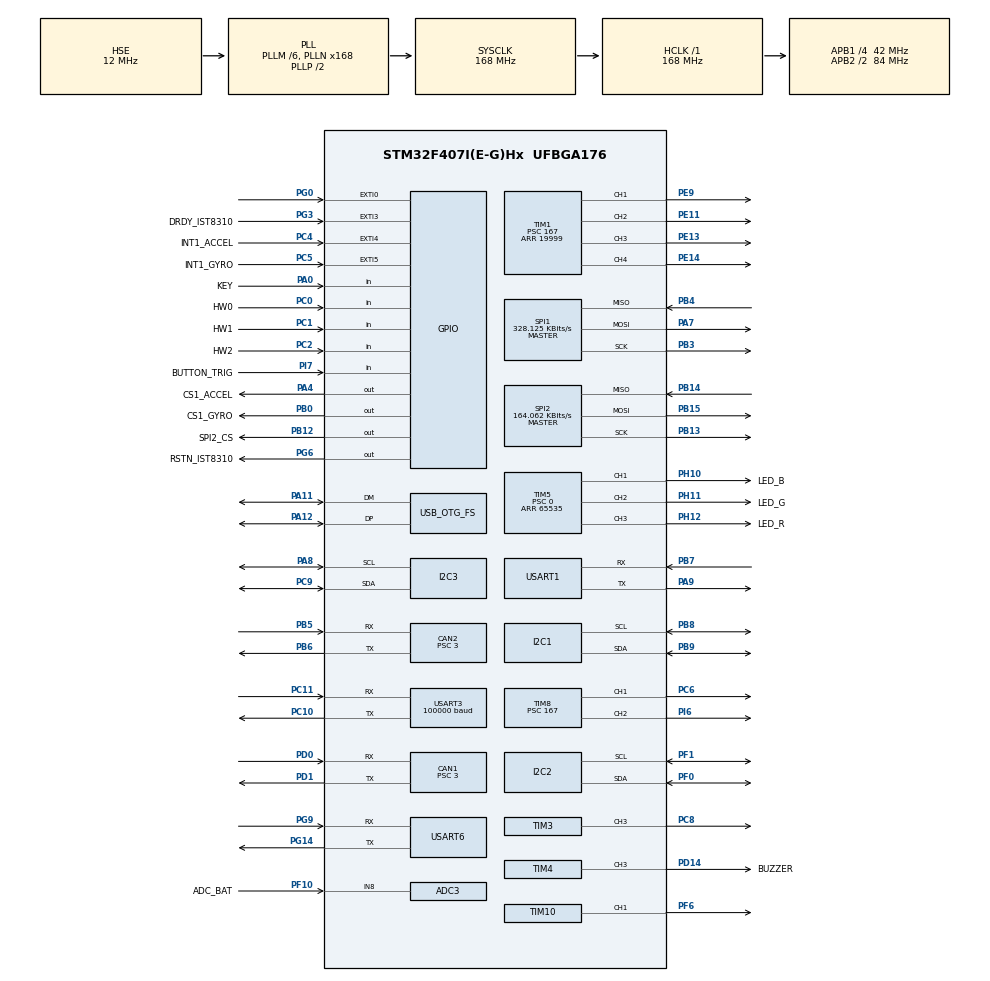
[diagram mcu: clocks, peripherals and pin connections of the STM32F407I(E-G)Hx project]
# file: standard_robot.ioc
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ADC1.Channel-0\#ChannelRegularConversion=ADC_CHANNEL_TEMPSENSOR
ADC1.ClockPrescaler=ADC_CLOCK_SYNC_PCLK_DIV6
ADC1.NbrOfConversionFlag=1
ADC1.Rank-0\#ChannelRegularConversion=1
ADC1.SamplingTime-0\#ChannelRegularConversion=ADC_SAMPLETIME_3CYCLES
ADC1.master=1
ADC3.Channel-0\#ChannelRegularConversion=ADC_CHANNEL_8
ADC3.ClockPrescaler=ADC_CLOCK_SYNC_PCLK_DIV6
ADC3.NbrOfConversionFlag=1
ADC3.Rank-0\#ChannelRegularConversion=1
ADC3.SamplingTime-0\#ChannelRegularConversion=ADC_SAMPLETIME_3CYCLES
CAN1.ABOM=ENABLE
CAN1.BS1=CAN_BS1_10TQ
CAN1.BS2=CAN_BS2_3TQ
CAN1.CalculateBaudRate=1000000
CAN1.CalculateTimeBit=999.99
CAN1.CalculateTimeQuantum=71.42857142857143
CAN1.Prescaler=3
CAN2.BS1=CAN_BS1_10TQ
CAN2.BS2=CAN_BS2_3TQ
CAN2.CalculateBaudRate=1000000
CAN2.CalculateTimeBit=999.99
CAN2.CalculateTimeQuantum=71.42857142857143
CAN2.Prescaler=3
Dma.I2C2_TX.2.Direction=DMA_MEMORY_TO_PERIPH
Dma.I2C2_TX.2.FIFOMode=DMA_FIFOMODE_DISABLE
Dma.I2C2_TX.2.Instance=DMA1_Stream7
Dma.I2C2_TX.2.MemDataAlignment=DMA_MDATAALIGN_BYTE
Dma.I2C2_TX.2.MemInc=DMA_MINC_ENABLE
Dma.I2C2_TX.2.Mode=DMA_NORMAL
Dma.I2C2_TX.2.PeriphDataAlignment=DMA_PDATAALIGN_BYTE
Dma.I2C2_TX.2.PeriphInc=DMA_PINC_DISABLE
Dma.I2C2_TX.2.Priority=DMA_PRIORITY_HIGH
Dma.Request0=SPI1_RX
Dma.Request1=SPI1_TX
Dma.Request2=I2C2_TX
Dma.Request3=USART3_RX
Dma.Request4=USART6_RX
Dma.Request5=USART6_TX
Dma.Request6=USART1_TX
Dma.SPI1_RX.0.Direction=DMA_PERIPH_TO_MEMORY
Dma.SPI1_RX.0.FIFOMode=DMA_FIFOMODE_DISABLE
Dma.SPI1_RX.0.Instance=DMA2_Stream2
Dma.SPI1_RX.0.MemDataAlignment=DMA_MDATAALIGN_BYTE
Dma.SPI1_RX.0.MemInc=DMA_MINC_ENABLE
Dma.SPI1_RX.0.Mode=DMA_NORMAL
Dma.SPI1_RX.0.PeriphDataAlignment=DMA_PDATAALIGN_BYTE
Dma.SPI1_RX.0.PeriphInc=DMA_PINC_DISABLE
Dma.SPI1_RX.0.Priority=DMA_PRIORITY_VERY_HIGH
Dma.SPI1_TX.1.Direction=DMA_MEMORY_TO_PERIPH
Dma.SPI1_TX.1.FIFOMode=DMA_FIFOMODE_DISABLE
Dma.SPI1_TX.1.Instance=DMA2_Stream3
Dma.SPI1_TX.1.MemDataAlignment=DMA_MDATAALIGN_BYTE
Dma.SPI1_TX.1.MemInc=DMA_MINC_ENABLE
Dma.SPI1_TX.1.Mode=DMA_NORMAL
Dma.SPI1_TX.1.PeriphDataAlignment=DMA_PDATAALIGN_BYTE
Dma.SPI1_TX.1.PeriphInc=DMA_PINC_DISABLE
Dma.SPI1_TX.1.Priority=DMA_PRIORITY_HIGH
Dma.USART1_TX.6.Direction=DMA_MEMORY_TO_PERIPH
Dma.USART1_TX.6.FIFOMode=DMA_FIFOMODE_DISABLE
Dma.USART1_TX.6.Instance=DMA2_Stream7
Dma.USART1_TX.6.MemDataAlignment=DMA_MDATAALIGN_BYTE
Dma.USART1_TX.6.MemInc=DMA_MINC_ENABLE
Dma.USART1_TX.6.Mode=DMA_NORMAL
Dma.USART1_TX.6.PeriphDataAlignment=DMA_PDATAALIGN_BYTE
Dma.USART1_TX.6.PeriphInc=DMA_PINC_DISABLE
Dma.USART1_TX.6.Priority=DMA_PRIORITY_MEDIUM
Dma.USART3_RX.3.Direction=DMA_PERIPH_TO_MEMORY
Dma.USART3_RX.3.FIFOMode=DMA_FIFOMODE_DISABLE
Dma.USART3_RX.3.Instance=DMA1_Stream1
Dma.USART3_RX.3.MemDataAlignment=DMA_MDATAALIGN_BYTE
Dma.USART3_RX.3.MemInc=DMA_MINC_ENABLE
Dma.USART3_RX.3.Mode=DMA_NORMAL
Dma.USART3_RX.3.PeriphDataAlignment=DMA_PDATAALIGN_BYTE
Dma.USART3_RX.3.PeriphInc=DMA_PINC_DISABLE
Dma.USART3_RX.3.Priority=DMA_PRIORITY_HIGH
Dma.USART6_RX.4.Direction=DMA_PERIPH_TO_MEMORY
Dma.USART6_RX.4.FIFOMode=DMA_FIFOMODE_DISABLE
Dma.USART6_RX.4.Instance=DMA2_Stream1
Dma.USART6_RX.4.MemDataAlignment=DMA_MDATAALIGN_BYTE
Dma.USART6_RX.4.MemInc=DMA_MINC_ENABLE
Dma.USART6_RX.4.Mode=DMA_NORMAL
Dma.USART6_RX.4.PeriphDataAlignment=DMA_PDATAALIGN_BYTE
Dma.USART6_RX.4.PeriphInc=DMA_PINC_DISABLE
Dma.USART6_RX.4.Priority=DMA_PRIORITY_HIGH
Dma.USART6_TX.5.Direction=DMA_MEMORY_TO_PERIPH
Dma.USART6_TX.5.FIFOMode=DMA_FIFOMODE_DISABLE
Dma.USART6_TX.5.Instance=DMA2_Stream6
Dma.USART6_TX.5.MemDataAlignment=DMA_MDATAALIGN_BYTE
Dma.USART6_TX.5.MemInc=DMA_MINC_ENABLE
Dma.USART6_TX.5.Mode=DMA_NORMAL
Dma.USART6_TX.5.PeriphDataAlignment=DMA_PDATAALIGN_BYTE
Dma.USART6_TX.5.PeriphInc=DMA_PINC_DISABLE
Dma.USART6_TX.5.Priority=DMA_PRIORITY_MEDIUM
FREERTOS.INCLUDE_eTaskGetState=1
FREERTOS.INCLUDE_pcTaskGetTaskName=1
FREERTOS.INCLUDE_uxTaskGetStackHighWaterMark=1
FREERTOS.INCLUDE_vTaskCleanUpResources=1
FREERTOS.INCLUDE_vTaskDelayUntil=1
FREERTOS.INCLUDE_xEventGroupSetBitFromISR=1
FREERTOS.INCLUDE_xQueueGetMutexHolder=1
FREERTOS.INCLUDE_xSemaphoreGetMutexHolder=1
FREERTOS.INCLUDE_xTaskAbortDelay=1
FREERTOS.INCLUDE_xTaskGetCurrentTaskHandle=1
FREERTOS.INCLUDE_xTaskGetHandle=1
FREERTOS.INCLUDE_xTimerPendFunctionCall=1
FREERTOS.Tasks01=test,24,128,test_task,As weak,NULL,Dynamic,NULL,NULL
FREERTOS.Timers01=Ts_myTimer01,Ts_Callback01,osTimerPeriodic,Default,NULL,Dynamic,NULL
FREERTOS.configTOTAL_HEAP_SIZE=24576
I2C1.I2C_Mode=I2C_Fast
I2C2.I2C_Mode=I2C_Fast
I2C3.I2C_Mode=I2C_Fast
Mcu.Family=STM32F4
Mcu.Name=STM32F407I(E-G)Hx
Mcu.Package=UFBGA176
NVIC.CAN1_RX0_IRQn=true\:6\:0\:true\:false\:true\:false\:true\:true
NVIC.CAN1_TX_IRQn=true\:5\:0\:false\:false\:true\:false\:true\:true
NVIC.CAN2_RX0_IRQn=true\:6\:0\:true\:false\:true\:false\:true\:true
NVIC.DMA1_Stream1_IRQn=true\:5\:0\:true\:false\:false\:false\:false\:false
NVIC.DMA1_Stream7_IRQn=true\:5\:0\:true\:false\:false\:false\:false\:true
NVIC.DMA2_Stream1_IRQn=true\:5\:0\:true\:false\:true\:false\:false\:true
NVIC.DMA2_Stream2_IRQn=true\:5\:0\:true\:false\:false\:false\:false\:true
NVIC.DMA2_Stream3_IRQn=true\:5\:0\:true\:false\:false\:false\:false\:true
NVIC.DMA2_Stream6_IRQn=true\:5\:0\:true\:false\:true\:false\:false\:true
NVIC.DMA2_Stream7_IRQn=true\:5\:0\:true\:false\:true\:false\:false\:true
NVIC.EXTI0_IRQn=true\:6\:0\:true\:false\:true\:false\:true\:true
NVIC.EXTI3_IRQn=true\:5\:0\:true\:false\:true\:false\:true\:true
NVIC.EXTI4_IRQn=true\:5\:0\:true\:false\:true\:false\:true\:true
NVIC.EXTI9_5_IRQn=true\:5\:0\:true\:false\:true\:false\:true\:true
NVIC.OTG_FS_IRQn=true\:5\:0\:false\:false\:true\:true\:false\:true
NVIC.PriorityGroup=NVIC_PRIORITYGROUP_4
NVIC.USART3_IRQn=true\:4\:0\:true\:false\:false\:false\:true\:true
NVIC.USART6_IRQn=true\:5\:0\:true\:false\:false\:false\:true\:true
PA0-WKUP.GPIO_Label=KEY
PA0-WKUP.GPIO_PuPd=GPIO_PULLUP
PA0-WKUP.Signal=GPIO_Input
PA11.Mode=Device_Only
PA11.Signal=USB_OTG_FS_DM
PA12.Mode=Device_Only
PA12.Signal=USB_OTG_FS_DP
PA13.Mode=Serial_Wire
PA13.Signal=SYS_JTMS-SWDIO
PA14.Mode=Serial_Wire
PA14.Signal=SYS_JTCK-SWCLK
PA4.GPIO_Label=CS1_ACCEL
PA4.GPIO_PuPd=GPIO_PULLUP
PA4.GPIO_Speed=GPIO_SPEED_FREQ_HIGH
PA4.PinState=GPIO_PIN_SET
PA4.Signal=GPIO_Output
PA7.GPIO_PuPd=GPIO_PULLUP
PA7.Mode=Full_Duplex_Master
PA7.Signal=SPI1_MOSI
PA8.GPIO_Pu=GPIO_PULLUP
PA8.Mode=I2C
PA8.Signal=I2C3_SCL
PA9.Mode=Asynchronous
PA9.Signal=USART1_TX
PB0.GPIO_Label=CS1_GYRO
PB0.GPIO_PuPd=GPIO_PULLUP
PB0.GPIO_Speed=GPIO_SPEED_FREQ_HIGH
PB0.PinState=GPIO_PIN_SET
PB0.Signal=GPIO_Output
PB12.GPIO_Label=SPI2_CS
PB12.GPIO_PuPd=GPIO_PULLUP
PB12.GPIO_Speed=GPIO_SPEED_FREQ_MEDIUM
PB12.PinState=GPIO_PIN_SET
PB12.Signal=GPIO_Output
PB13.GPIO_PuPd=GPIO_PULLUP
PB13.Mode=Full_Duplex_Master
PB13.Signal=SPI2_SCK
PB14.GPIO_PuPd=GPIO_PULLUP
PB14.Mode=Full_Duplex_Master
PB14.Signal=SPI2_MISO
PB15.GPIO_PuPd=GPIO_PULLUP
PB15.Mode=Full_Duplex_Master
PB15.Signal=SPI2_MOSI
PB3.GPIO_PuPd=GPIO_PULLUP
PB3.Mode=Full_Duplex_Master
PB3.Signal=SPI1_SCK
PB4.GPIO_PuPd=GPIO_PULLUP
PB4.Mode=Full_Duplex_Master
PB4.Signal=SPI1_MISO
PB5.Mode=CAN_Activate
PB5.Signal=CAN2_RX
PB6.Mode=CAN_Activate
PB6.Signal=CAN2_TX
PB7.Mode=Asynchronous
PB7.Signal=USART1_RX
PB8.GPIO_Pu=GPIO_PULLUP
PB8.Mode=I2C
PB8.Signal=I2C1_SCL
PB9.GPIO_Pu=GPIO_PULLUP
PB9.Mode=I2C
PB9.Signal=I2C1_SDA
PC0.GPIO_Label=HW0
PC0.Signal=GPIO_Input
PC1.GPIO_Label=HW1
PC1.Signal=GPIO_Input
PC10.Mode=Asynchronous
PC10.Signal=USART3_TX
PC11.Mode=Asynchronous
PC11.Signal=USART3_RX
PC2.GPIO_Label=HW2
PC2.Signal=GPIO_Input
PC4.GPIO_Label=INT1_ACCEL
PC4.GPIO_ModeDefaultEXTI=GPIO_MODE_IT_FALLING
PC4.GPIO_PuPd=GPIO_PULLUP
PC4.Signal=GPXTI4
PC5.GPIO_Label=INT1_GYRO
PC5.GPIO_ModeDefaultEXTI=GPIO_MODE_IT_FALLING
PC5.GPIO_PuPd=GPIO_PULLUP
PC5.Signal=GPXTI5
PC6.GPIO_PuPd=GPIO_PULLUP
PC6.GPIO_Speed=GPIO_SPEED_FREQ_HIGH
PC6.Signal=S_TIM8_CH1
PC8.GPIO_PuPd=GPIO_PULLUP
PC8.GPIO_Speed=GPIO_SPEED_FREQ_HIGH
PC8.Signal=S_TIM3_CH3
PC9.GPIO_Pu=GPIO_PULLUP
PC9.Mode=I2C
PC9.Signal=I2C3_SDA
PD0.Mode=CAN_Activate
PD0.Signal=CAN1_RX
PD1.Mode=CAN_Activate
PD1.Signal=CAN1_TX
PD14.GPIO_Label=BUZZER
PD14.GPIO_PuPd=GPIO_PULLUP
PD14.GPIO_Speed=GPIO_SPEED_FREQ_VERY_HIGH
PD14.Signal=S_TIM4_CH3
PE11.GPIO_PuPd=GPIO_PULLUP
PE11.GPIO_Speed=GPIO_SPEED_FREQ_HIGH
PE11.Signal=S_TIM1_CH2
PE13.GPIO_PuPd=GPIO_PULLUP
PE13.GPIO_Speed=GPIO_SPEED_FREQ_HIGH
PE13.Signal=S_TIM1_CH3
PE14.GPIO_PuPd=GPIO_PULLUP
PE14.GPIO_Speed=GPIO_SPEED_FREQ_HIGH
PE14.Signal=S_TIM1_CH4
PE9.GPIO_PuPd=GPIO_PULLUP
PE9.GPIO_Speed=GPIO_SPEED_FREQ_HIGH
PE9.Signal=S_TIM1_CH1
PF0.GPIO_Pu=GPIO_PULLUP
PF0.Mode=I2C
PF0.Signal=I2C2_SDA
PF1.GPIO_Pu=GPIO_PULLUP
PF1.Mode=I2C
PF1.Signal=I2C2_SCL
PF10.GPIO_Label=ADC_BAT
PF10.Mode=IN8
PF10.Signal=ADC3_IN8
PF6.GPIO_PuPd=GPIO_PULLUP
PF6.GPIO_Speed=GPIO_SPEED_FREQ_HIGH
PF6.Signal=S_TIM10_CH1
PG0.GPIO_ModeDefaultEXTI=GPIO_MODE_IT_FALLING
PG0.GPIO_PuPd=GPIO_PULLUP
PG0.Signal=GPXTI0
PG14.Mode=Asynchronous
PG14.Signal=USART6_TX
PG3.GPIO_Label=DRDY_IST8310
PG3.GPIO_ModeDefaultEXTI=GPIO_MODE_IT_FALLING
PG3.GPIO_PuPd=GPIO_PULLUP
PG3.Signal=GPXTI3
PG6.GPIO_Label=RSTN_IST8310
PG6.GPIO_PuPd=GPIO_PULLUP
PG6.GPIO_Speed=GPIO_SPEED_FREQ_MEDIUM
PG6.PinState=GPIO_PIN_SET
PG6.Signal=GPIO_Output
PG9.Mode=Asynchronous
PG9.Signal=USART6_RX
PH0-OSC_IN.Mode=HSE-External-Oscillator
PH0-OSC_IN.Signal=RCC_OSC_IN
PH1-OSC_OUT.Mode=HSE-External-Oscillator
PH1-OSC_OUT.Signal=RCC_OSC_OUT
PH10.GPIO_Label=LED_B
PH10.GPIO_PuPd=GPIO_PULLUP
PH10.GPIO_Speed=GPIO_SPEED_FREQ_HIGH
PH10.Signal=S_TIM5_CH1
PH11.GPIO_Label=LED_G
PH11.GPIO_PuPd=GPIO_PULLUP
PH11.GPIO_Speed=GPIO_SPEED_FREQ_HIGH
PH11.Signal=S_TIM5_CH2
PH12.GPIO_Label=LED_R
PH12.GPIO_PuPd=GPIO_PULLUP
PH12.GPIO_Speed=GPIO_SPEED_FREQ_HIGH
PH12.Signal=S_TIM5_CH3
PI6.GPIO_PuPd=GPIO_PULLUP
PI6.GPIO_Speed=GPIO_SPEED_FREQ_HIGH
PI6.Signal=S_TIM8_CH2
PI7.GPIO_Label=BUTTON_TRIG
PI7.GPIO_PuPd=GPIO_PULLUP
PI7.Signal=GPIO_Input
ProjectManager.HeapSize=0x2000
ProjectManager.StackSize=0x2000
ProjectManager.TargetToolchain=MDK-ARM V5
RCC.48MHZClocksFreq_Value=48000000
RCC.AHBFreq_Value=168000000
RCC.APB1CLKDivider=RCC_HCLK_DIV4
RCC.APB1Freq_Value=42000000
RCC.APB1TimFreq_Value=84000000
RCC.APB2CLKDivider=RCC_HCLK_DIV2
RCC.APB2Freq_Value=84000000
RCC.APB2TimFreq_Value=168000000
RCC.CortexFreq_Value=168000000
RCC.HCLKFreq_Value=168000000
RCC.HSE_VALUE=12000000
RCC.HSI_VALUE=16000000
RCC.LSE_VALUE=32768
RCC.PLLM=6
RCC.PLLN=168
RCC.PLLQ=7
RCC.RCC_RTC_Clock_SourceVirtual=RCC_RTCCLKSOURCE_HSE_DIV30
RCC.RCC_RTC_Clock_Source_FROM_HSE=RCC_RTCCLKSOURCE_HSE_DIV30
RCC.SYSCLKFreq_VALUE=168000000
RCC.SYSCLKSource=RCC_SYSCLKSOURCE_PLLCLK
RCC.VCOOutputFreq_Value=336000000
RTC.AsynchPrediv=124
RTC.SynchPrediv=3199
SH.S_TIM10_CH1.0=TIM10_CH1,PWM Generation1 CH1
SH.S_TIM1_CH1.0=TIM1_CH1,PWM Generation1 CH1
SH.S_TIM1_CH2.0=TIM1_CH2,PWM Generation2 CH2
SH.S_TIM1_CH3.0=TIM1_CH3,PWM Generation3 CH3
SH.S_TIM1_CH4.0=TIM1_CH4,PWM Generation4 CH4
SH.S_TIM3_CH3.0=TIM3_CH3,PWM Generation3 CH3
SH.S_TIM4_CH3.0=TIM4_CH3,PWM Generation3 CH3
SH.S_TIM5_CH1.0=TIM5_CH1,PWM Generation1 CH1
SH.S_TIM5_CH2.0=TIM5_CH2,PWM Generation2 CH2
SH.S_TIM5_CH3.0=TIM5_CH3,PWM Generation3 CH3
SH.S_TIM8_CH1.0=TIM8_CH1,PWM Generation1 CH1
SH.S_TIM8_CH2.0=TIM8_CH2,PWM Generation2 CH2
SPI1.BaudRatePrescaler=SPI_BAUDRATEPRESCALER_256
SPI1.CLKPhase=SPI_PHASE_2EDGE
SPI1.CLKPolarity=SPI_POLARITY_HIGH
SPI1.CalculateBaudRate=328.125 KBits/s
SPI1.Direction=SPI_DIRECTION_2LINES
SPI1.Mode=SPI_MODE_MASTER
SPI1.VirtualType=VM_MASTER
SPI2.BaudRatePrescaler=SPI_BAUDRATEPRESCALER_256
SPI2.CLKPhase=SPI_PHASE_2EDGE
SPI2.CLKPolarity=SPI_POLARITY_HIGH
SPI2.CalculateBaudRate=164.062 KBits/s
SPI2.Direction=SPI_DIRECTION_2LINES
SPI2.Mode=SPI_MODE_MASTER
SPI2.VirtualType=VM_MASTER
TIM1.Channel-PWM\ Generation1\ CH1=TIM_CHANNEL_1
TIM1.Channel-PWM\ Generation2\ CH2=TIM_CHANNEL_2
TIM1.Channel-PWM\ Generation3\ CH3=TIM_CHANNEL_3
TIM1.Channel-PWM\ Generation4\ CH4=TIM_CHANNEL_4
TIM1.Period=19999
TIM1.Prescaler=167
TIM1.Pulse-PWM\ Generation1\ CH1=1000
TIM1.Pulse-PWM\ Generation2\ CH2=1000
TIM1.Pulse-PWM\ Generation3\ CH3=1000
TIM1.Pulse-PWM\ Generation4\ CH4=1000
TIM10.Channel=TIM_CHANNEL_1
TIM10.Period=4999
TIM3.Channel-PWM\ Generation3\ CH3=TIM_CHANNEL_3
TIM3.Period=8399
TIM4.Channel-PWM\ Generation3\ CH3=TIM_CHANNEL_3
TIM4.Period=65535
TIM4.Prescaler=167
TIM5.Channel-PWM\ Generation1\ CH1=TIM_CHANNEL_1
TIM5.Channel-PWM\ Generation2\ CH2=TIM_CHANNEL_2
TIM5.Channel-PWM\ Generation3\ CH3=TIM_CHANNEL_3
TIM5.Period=65535
TIM5.Prescaler=0
TIM8.Channel-PWM\ Generation1\ CH1=TIM_CHANNEL_1
TIM8.Channel-PWM\ Generation2\ CH2=TIM_CHANNEL_2
TIM8.Period=19999
TIM8.Prescaler=167
TIM8.Pulse-PWM\ Generation1\ CH1=1000
TIM8.Pulse-PWM\ Generation2\ CH2=1000
USART1.VirtualMode=VM_ASYNC
USART3.BaudRate=100000
USART3.Parity=PARITY_EVEN
USART3.VirtualMode=VM_ASYNC
USART6.VirtualMode=VM_ASYNC
USB_DEVICE.CLASS_NAME_FS=CDC
USB_DEVICE.VirtualMode-CDC_FS=Cdc
USB_DEVICE.VirtualModeFS=Cdc_FS
USB_OTG_FS.VirtualMode=Device_Only
VP_ADC1_TempSens_Input.Mode=IN-TempSens
VP_ADC1_Vref_Input.Mode=IN-Vrefint
VP_CRC_VS_CRC.Mode=CRC_Activate
VP_FREERTOS_VS_CMSIS_V1.Mode=CMSIS_V1
VP_RNG_VS_RNG.Mode=RNG_Activate
VP_RTC_VS_RTC_Activate.Mode=RTC_Enabled
VP_TIM10_VS_ClockSourceINT.Mode=Enable_Timer
VP_TIM1_VS_ClockSourceINT.Mode=Internal
VP_TIM3_VS_ClockSourceINT.Mode=Internal
VP_TIM4_VS_ClockSourceINT.Mode=Internal
VP_TIM5_VS_ClockSourceINT.Mode=Internal
VP_TIM8_VS_ClockSourceINT.Mode=Internal
VP_USB_DEVICE_VS_USB_DEVICE_CDC_FS.Mode=CDC_FS
board=custom

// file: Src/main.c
/* USER CODE BEGIN Header */
/**
  ******************************************************************************
  * @file           : main.c
  * @brief          : Main program body
  ******************************************************************************
  * @attention
  *
  * <h2><center>&copy; Copyright (c) 2019 STMicroelectronics.
  * All rights reserved.</center></h2>
  *
  * This software component is licensed by ST under Ultimate Liberty license
  * SLA0044, the "License"; You may not use this file except in compliance with
  * the License. You may obtain a copy of the License at:
  *                             www.st.com/SLA0044
  *
  ******************************************************************************
  */
/* USER CODE END Header */
#include "main.h"
#include "cmsis_os.h"
#include "adc.h"
#include "can.h"
#include "crc.h"
#include "dma.h"
#include "i2c.h"
#include "rng.h"
#include "rtc.h"
#include "spi.h"
#include "tim.h"
#include "usart.h"
#include "usb_device.h"
#include "gpio.h"

/* USER CODE BEGIN Includes */
#include "bsp_can.h"
#include "bsp_delay.h"
#include "bsp_usart.h"
#include "remote_control.h"

#include "calibrate_task.h"
#include "chassis_task.h"
#include "detect_task.h"
#include "gimbal_task.h"
#include "INS_task.h"
#include "led_flow_task.h"
#include "oled_task.h"
#include "referee_usart_task.h"
#include "usb_task.h"
#include "voltage_task.h"
/* USER CODE END Includes */

void SystemClock_Config(void);
void MX_FREERTOS_Init(void);

int main(void)
{

  /* MCU Configuration--------------------------------------------------------*/

  /* Reset of all peripherals, Initializes the Flash interface and the Systick. */
  HAL_Init();

  /* Configure the system clock */
  SystemClock_Config();

  /* Initialize all configured peripherals */
  MX_GPIO_Init();
  MX_DMA_Init();
  MX_ADC1_Init();
  MX_ADC3_Init();
  MX_CAN1_Init();
  MX_CAN2_Init();
  MX_I2C1_Init();
  MX_SPI1_Init();
  MX_TIM4_Init();
  MX_TIM5_Init();
  MX_USART3_UART_Init();
  MX_TIM8_Init();
  MX_CRC_Init();
  MX_RNG_Init();
  MX_I2C2_Init();
  MX_I2C3_Init();
  MX_RTC_Init();
  MX_SPI2_Init();
  MX_TIM1_Init();
  MX_TIM3_Init();
  MX_TIM10_Init();
  MX_USART1_UART_Init();
  MX_USART6_UART_Init();
  /* USER CODE BEGIN 2 */
    can_filter_init();
    delay_init();
    cali_param_init();
    remote_control_init();
    usart1_tx_dma_init();
  /* USER CODE END 2 */
   __HAL_TIM_SetCompare(&htim1, TIM_CHANNEL_1, 0);
  /* Call init function for freertos objects (in freertos.c) */
  MX_FREERTOS_Init();
  /* Start scheduler */
  osKernelStart();

  /* We should never get here as control is now taken by the scheduler */
  /* Infinite loop */
  while (1)
  {

  }
}

void SystemClock_Config(void)
{
  RCC_OscInitTypeDef RCC_OscInitStruct = {0};
  RCC_ClkInitTypeDef RCC_ClkInitStruct = {0};

  /** Configure the main internal regulator output voltage
  */
  __HAL_RCC_PWR_CLK_ENABLE();
  __HAL_PWR_VOLTAGESCALING_CONFIG(PWR_REGULATOR_VOLTAGE_SCALE1);
  /** Initializes the RCC Oscillators according to the specified parameters
  * in the RCC_OscInitTypeDef structure.
  */
  RCC_OscInitStruct.OscillatorType = RCC_OSCILLATORTYPE_HSE;
  RCC_OscInitStruct.HSEState = RCC_HSE_ON;
  RCC_OscInitStruct.PLL.PLLState = RCC_PLL_ON;
  RCC_OscInitStruct.PLL.PLLSource = RCC_PLLSOURCE_HSE;
  RCC_OscInitStruct.PLL.PLLM = 6;
  RCC_OscInitStruct.PLL.PLLN = 168;
  RCC_OscInitStruct.PLL.PLLP = RCC_PLLP_DIV2;
  RCC_OscInitStruct.PLL.PLLQ = 7;
  if (HAL_RCC_OscConfig(&RCC_OscInitStruct) != HAL_OK)
  {
    Error_Handler();
  }
  /** Initializes the CPU, AHB and APB buses clocks
  */
  RCC_ClkInitStruct.ClockType = RCC_CLOCKTYPE_HCLK|RCC_CLOCKTYPE_SYSCLK
                              |RCC_CLOCKTYPE_PCLK1|RCC_CLOCKTYPE_PCLK2;
  RCC_ClkInitStruct.SYSCLKSource = RCC_SYSCLKSOURCE_PLLCLK;
  RCC_ClkInitStruct.AHBCLKDivider = RCC_SYSCLK_DIV1;
  RCC_ClkInitStruct.APB1CLKDivider = RCC_HCLK_DIV4;
  RCC_ClkInitStruct.APB2CLKDivider = RCC_HCLK_DIV2;

  if (HAL_RCC_ClockConfig(&RCC_ClkInitStruct, FLASH_LATENCY_5) != HAL_OK)
  {
    Error_Handler();
  }
}

void Error_Handler(void)
{
}

/************************ (C) COPYRIGHT STMicroelectronics *****END OF FILE****/

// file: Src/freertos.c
/* USER CODE BEGIN Header */
/**
  ******************************************************************************
  * File Name          : freertos.c
  * Description        : Code for freertos applications
  ******************************************************************************
  * @attention
  *
  * <h2><center>&copy; Copyright (c) 2019 STMicroelectronics.
  * All rights reserved.</center></h2>
  *
  * This software component is licensed by ST under Ultimate Liberty license
  * SLA0044, the "License"; You may not use this file except in compliance with
  * the License. You may obtain a copy of the License at:
  *                             www.st.com/SLA0044
  *
  ******************************************************************************
  */
/* USER CODE END Header */

#include "FreeRTOS.h"
#include "task.h"
#include "main.h"
#include "cmsis_os.h"

/* USER CODE BEGIN Includes */

#include "calibrate_task.h"
#include "chassis_task.h"
#include "detect_task.h"
#include "gimbal_task.h"
#include "INS_task.h"
#include "led_flow_task.h"
#include "oled_task.h"
#include "referee_usart_task.h"
#include "usb_task.h"
#include "voltage_task.h"
#include "servo_task.h"
#include "protocol_camp.h"
#include "up_3508pid_task.h"
#include "ServoControl_task.h"
#include "RosControl_task.h"
#include "RelayControl_task.h"
#include "pwmR_task.h"
/* USER CODE END Includes */

/* USER CODE BEGIN PTD */

osThreadId calibrate_tast_handle;
osThreadId chassisTaskHandle;
osThreadId detect_handle;
osThreadId gimbalTaskHandle;
osThreadId imuTaskHandle;
osThreadId led_RGB_flow_handle;
osThreadId pwmR_task_handle;
osThreadId oled_handle;
osThreadId referee_usart_task_handle;
osThreadId usb_task_handle;
osThreadId battery_voltage_handle;
osThreadId servo_task_handle;
osThreadId RelayContorl_task_handle;
osThreadId decode_task_handle;
osThreadId rc_task_handle;
osThreadId up3508pid_task_handle;
osThreadId RosControl_task_handle;
osThreadId ServoControl_task_handle;
osThreadId  Motor_taskHandle; //�������id

extern void decode_task(void const * argument);

extern void rc_task(void const * argument);

extern void Motor_task(void const * argument);

 QueueHandle_t CDC_send_queue; // �½�CDC��Ϣ����

extern void rm_queue_data(uint16_t cmd_id,void* buf,uint16_t len ); //

message_info_t message_info2;

uint16_t msg_count = 0;

/* USER CODE END PTD */

osThreadId testHandle;
osTimerId Ts_myTimer01Handle;

void test_task(void const * argument);
void Ts_Callback01(void const * argument);

extern void MX_USB_DEVICE_Init(void);
void MX_FREERTOS_Init(void); /* (MISRA C 2004 rule 8.1) */

/* GetIdleTaskMemory prototype (linked to static allocation support) */
void vApplicationGetIdleTaskMemory( StaticTask_t **ppxIdleTaskTCBBuffer, StackType_t **ppxIdleTaskStackBuffer, uint32_t *pulIdleTaskStackSize );

/* GetTimerTaskMemory prototype (linked to static allocation support) */
void vApplicationGetTimerTaskMemory( StaticTask_t **ppxTimerTaskTCBBuffer, StackType_t **ppxTimerTaskStackBuffer, uint32_t *pulTimerTaskStackSize );

/* USER CODE BEGIN GET_IDLE_TASK_MEMORY */
static StaticTask_t xIdleTaskTCBBuffer;
static StackType_t xIdleStack[configMINIMAL_STACK_SIZE];

void vApplicationGetIdleTaskMemory( StaticTask_t **ppxIdleTaskTCBBuffer, StackType_t **ppxIdleTaskStackBuffer, uint32_t *pulIdleTaskStackSize )
{
  *ppxIdleTaskTCBBuffer = &xIdleTaskTCBBuffer;
  *ppxIdleTaskStackBuffer = &xIdleStack[0];
  *pulIdleTaskStackSize = configMINIMAL_STACK_SIZE;
  /* place for user code */
}
/* USER CODE END GET_IDLE_TASK_MEMORY */

/* USER CODE BEGIN GET_TIMER_TASK_MEMORY */
static StaticTask_t xTimerTaskTCBBuffer;
static StackType_t xTimerStack[configTIMER_TASK_STACK_DEPTH];

void vApplicationGetTimerTaskMemory( StaticTask_t **ppxTimerTaskTCBBuffer, StackType_t **ppxTimerTaskStackBuffer, uint32_t *pulTimerTaskStackSize )
{
  *ppxTimerTaskTCBBuffer = &xTimerTaskTCBBuffer;
  *ppxTimerTaskStackBuffer = &xTimerStack[0];
  *pulTimerTaskStackSize = configTIMER_TASK_STACK_DEPTH;
  /* place for user code */
}
/* USER CODE END GET_TIMER_TASK_MEMORY */

void MX_FREERTOS_Init(void) {

  /* Create the timer(s) */
  /* definition and creation of Ts_myTimer01 */
  osTimerDef(Ts_myTimer01, Ts_Callback01);
  Ts_myTimer01Handle = osTimerCreate(osTimer(Ts_myTimer01), osTimerPeriodic, NULL);

  /* Create the thread(s) */
  /* definition and creation of test */
  //osThreadDef(test, test_task, osPriorityNormal, 0, 128);
  //testHandle = osThreadCreate(osThread(test), NULL);

  /* USER CODE BEGIN RTOS_THREADS */
  /* add threads, ... */
    //osThreadDef(cali, calibrate_task, osPriorityNormal, 0, 512);
    //calibrate_tast_handle = osThreadCreate(osThread(cali), NULL);

    //osThreadDef(ChassisTask, chassis_task, osPriorityAboveNormal, 0, 512);
    //chassisTaskHandle = osThreadCreate(osThread(ChassisTask), NULL);

    //osThreadDef(DETECT, detect_task, osPriorityNormal, 0, 256);
    //detect_handle = osThreadCreate(osThread(DETECT), NULL);

    //osThreadDef(gimbalTask, gimbal_task, osPriorityHigh, 0, 512);
    //gimbalTaskHandle = osThreadCreate(osThread(gimbalTask), NULL);

    //osThreadDef(imuTask, INS_task, osPriorityRealtime, 0, 1024);
    //imuTaskHandle = osThreadCreate(osThread(imuTask), NULL);

    osThreadDef(led, led_RGB_flow_task, osPriorityNormal, 0, 256);
    led_RGB_flow_handle = osThreadCreate(osThread(led), NULL);

    osThreadDef(pwmR, pwmR_task, osPriorityNormal, 0, 128);
    pwmR_task_handle = osThreadCreate(osThread(pwmR), NULL);

    //osThreadDef(OLED, oled_task, osPriorityLow, 0, 256);
    //oled_handle = osThreadCreate(osThread(OLED), NULL);

    //osThreadDef(REFEREE, referee_usart_task, osPriorityNormal, 0, 128);
    //referee_usart_task_handle = osThreadCreate(osThread(REFEREE), NULL);

    osThreadDef(USBTask, usb_task, osPriorityHigh, 0, 128);
    usb_task_handle = osThreadCreate(osThread(USBTask), NULL);

	  osThreadDef(pid3508Task, up3508_pid_task, osPriorityHigh, 0, 256);
		up3508pid_task_handle = osThreadCreate(osThread(pid3508Task), NULL);

	  osThreadDef(RosControl_Task, RosControl_task, osPriorityHigh, 0, 256);
		RosControl_task_handle = osThreadCreate(osThread(RosControl_Task), NULL);

//    osThreadDef(ServoControlTask, ServoControl_task, osPriorityNormal, 0, 128);    //张锦昆写 舵机控制
//		ServoControl_task_handle = osThreadCreate(osThread(ServoControlTask), NULL);

    osThreadDef(DecodeTask, decode_task, osPriorityHigh, 0, 128);
    decode_task_handle = osThreadCreate(osThread(DecodeTask), NULL);

    //osThreadDef(BATTERY_VOLTAGE, battery_voltage_task, osPriorityNormal, 0, 128);
    //battery_voltage_handle = osThreadCreate(osThread(BATTERY_VOLTAGE), NULL);

		//osThreadDef(Remotectrl_Task, rc_task, osPriorityNormal, 0, 128);
    //rc_task_handle = osThreadCreate(osThread(Remotectrl_Task), NULL);

    osThreadDef(SERVO, servo_task, osPriorityNormal, 0, 128);
    servo_task_handle = osThreadCreate(osThread(SERVO), NULL);  //ros上位机

    osThreadDef(relay, RelayContorl_task, osPriorityNormal, 0, 128);
    servo_task_handle = osThreadCreate(osThread(relay), NULL);  //继电器控制线程

//		osThreadDef(motor_control_task, Motor_task, osPriorityHigh, 0, 256);
//    Motor_taskHandle = osThreadCreate(osThread(motor_control_task), NULL);   //���û�е��������

		 CDC_send_queue = xQueueCreate(1, 128); // ������Ϣ����

  /* USER CODE END RTOS_THREADS */

}

__weak void test_task(void const * argument)
{
  /* init code for USB_DEVICE */
  MX_USB_DEVICE_Init();
  for(;;)
  {
		osDelay(1);
  }
}

/* Ts_Callback01 function */
void Ts_Callback01(void const * argument)
{
  /* USER CODE BEGIN Ts_Callback01 */
		message_info2.num1 = msg_count++;
	if(msg_count>10000)
	{
		msg_count=0;
		osTimerStop(Ts_myTimer01Handle);
	}
	rm_queue_data(MESSAGE_ID,&message_info2,sizeof(message_info_t));

  /* USER CODE END Ts_Callback01 */
}

/************************ (C) COPYRIGHT STMicroelectronics *****END OF FILE****/
